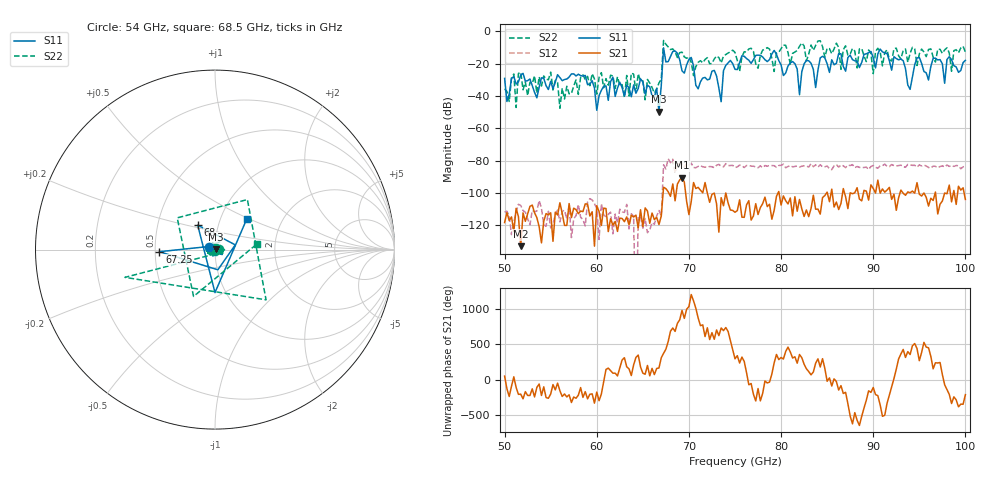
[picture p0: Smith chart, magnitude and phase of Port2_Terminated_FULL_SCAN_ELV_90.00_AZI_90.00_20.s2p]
! 11/25/2026 1:47:43 PM
! C:\ANRITSUVNA\TEMP\TEMP.S2P
! CHANNEL.1
! TR.MEASUREMENT
! RAW.DATA
# HZ S RI R 50.0
! FREQ.HZ  S11RE  S11IM  S21RE  S21IM  S12RE  S12IM  S22RE  S22IM
!; PortSelection: Port_12
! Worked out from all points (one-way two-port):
!   201 points, 50 GHz to 100 GHz, reference 50 ohm
!   highest |S21| = -90.56 dB at 69.25 GHz (marker M1); lowest = -133.0 dB at 51.75 GHz (marker M2)
!   lowest |S11| = -49.7 dB at 66.75 GHz (marker M3), VSWR 1.01, Z = 50.3 + j0.0706 ohm
!   |S11| at or under -10 dB: start of sweep to end of sweep
!   |S22| runs from -47.6 to -5.6 dB; largest |S21 - S12| = 0.00012
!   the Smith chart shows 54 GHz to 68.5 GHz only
!   S11 on the Smith chart (normalised r, x): 54 GHz: 0.93, +0.03; 67.25 GHz: 0.53, -0.01; 68 GHz: 0.80, +0.22; 68.5 GHz: 1.33, +0.49
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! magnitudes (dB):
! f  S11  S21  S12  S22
! 50 GHz  -29.1  -118.4  -111.9  -35.6
! 51 GHz  -27.9  -123.9  -118.2  -26.4
! 51.25 GHz  -32.6  -109.6  -112.0  -47.1
! 51.75 GHz  -27.1  -133.0  -107.8  -25.3
! 54 GHz  -28.7  -131.0  -109.6  -33.8
! 56 GHz  -28.6  -106.1  -118.0  -47.6
! 58.5 GHz  -27.7  -111.6  -116.5  -26.9
! 60 GHz  -48.8  -107.9  -109.6  -38.8
! 61.75 GHz  -28.4  -120.0  -125.4  -27.6
! 66.75 GHz  -49.7  -119.6  -110.9  -31.9
! 67.25 GHz  -10.2  -96.5  -82.6  -5.6
! 68 GHz  -15.5  -102.2  -81.3  -11.2
! 68.5 GHz  -12.1  -104.9  -87.5  -12.6
! 69.25 GHz  -24.4  -90.6  -82.3  -12.8
! 72.75 GHz  -24.1  -100.1  -84.4  -17.1
! 73.5 GHz  -43.5  -103.0  -83.5  -19.5
! 75 GHz  -23.5  -112.0  -84.3  -13.0
! 83.5 GHz  -23.5  -101.5  -83.8  -11.7
! 91.75 GHz  -18.1  -96.6  -83.8  -17.5
! 94 GHz  -35.9  -99.9  -82.5  -13.6
! 94.75 GHz  -16.5  -93.7  -84.1  -21.1
! 100 GHz  -17.9  -104.1  -83.5  -12.8
